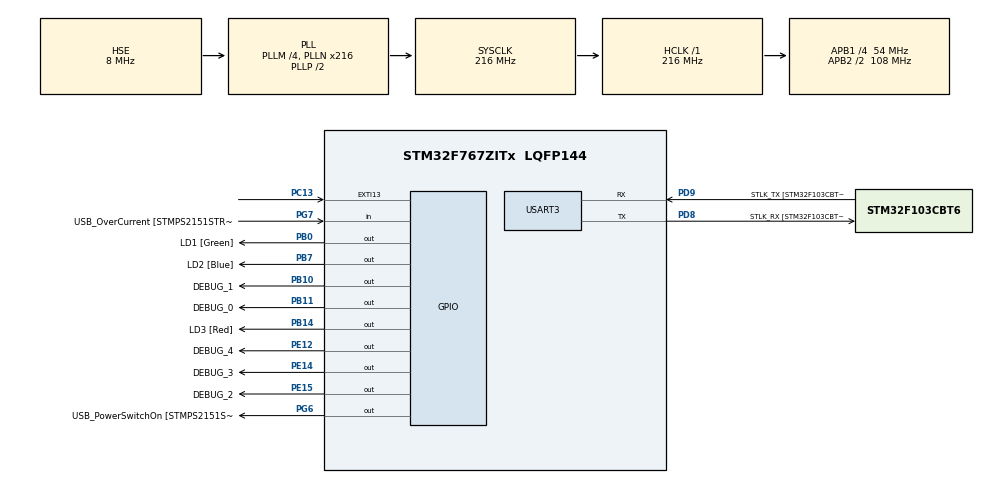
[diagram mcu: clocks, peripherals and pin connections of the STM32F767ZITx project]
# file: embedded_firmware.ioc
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CORTEX_M7.CPU_DCache=Enabled
CORTEX_M7.CPU_ICache=Enabled
CORTEX_M7.PREFETCH_ENABLE=1
Mcu.Family=STM32F7
Mcu.Name=STM32F767ZITx
Mcu.Package=LQFP144
NVIC.EXTI15_10_IRQn=true\:0\:0\:false\:false\:true\:true\:true
NVIC.PriorityGroup=NVIC_PRIORITYGROUP_4
PA13.GPIO_Label=TMS
PA13.Mode=Trace_Asynchronous_SW
PA13.Signal=SYS_JTMS-SWDIO
PA14.GPIO_Label=TCK
PA14.Mode=Trace_Asynchronous_SW
PA14.Signal=SYS_JTCK-SWCLK
PB0.GPIO_Label=LD1 [Green]
PB0.Signal=GPIO_Output
PB10.GPIO_Label=DEBUG_1
PB10.GPIO_ModeDefaultOutputPP=GPIO_MODE_OUTPUT_PP
PB10.GPIO_PuPd=GPIO_NOPULL
PB10.GPIO_Speed=GPIO_SPEED_FREQ_VERY_HIGH
PB10.PinState=GPIO_PIN_RESET
PB10.Signal=GPIO_Output
PB11.GPIO_Label=DEBUG_0
PB11.GPIO_ModeDefaultOutputPP=GPIO_MODE_OUTPUT_PP
PB11.GPIO_PuPd=GPIO_NOPULL
PB11.GPIO_Speed=GPIO_SPEED_FREQ_VERY_HIGH
PB11.PinState=GPIO_PIN_RESET
PB11.Signal=GPIO_Output
PB14.GPIO_Label=LD3 [Red]
PB14.Signal=GPIO_Output
PB3.GPIO_Label=SW0
PB3.Mode=Trace_Asynchronous_SW
PB3.Signal=SYS_JTDO-SWO
PB7.GPIO_Label=LD2 [Blue]
PB7.Signal=GPIO_Output
PC13.Signal=GPXTI13
PC14/OSC32_IN.Signal=RCC_OSC32_IN
PC15/OSC32_OUT.Signal=RCC_OSC32_OUT
PD8.GPIO_Label=STLK_RX [STM32F103CBT6_PA3]
PD8.Mode=Asynchronous
PD8.Signal=USART3_TX
PD9.GPIO_Label=STLK_TX [STM32F103CBT6_PA2]
PD9.Mode=Asynchronous
PD9.Signal=USART3_RX
PE12.GPIO_Label=DEBUG_4
PE12.GPIO_ModeDefaultOutputPP=GPIO_MODE_OUTPUT_PP
PE12.GPIO_PuPd=GPIO_NOPULL
PE12.GPIO_Speed=GPIO_SPEED_FREQ_VERY_HIGH
PE12.PinState=GPIO_PIN_RESET
PE12.Signal=GPIO_Output
PE14.GPIO_Label=DEBUG_3
PE14.GPIO_ModeDefaultOutputPP=GPIO_MODE_OUTPUT_PP
PE14.GPIO_PuPd=GPIO_NOPULL
PE14.GPIO_Speed=GPIO_SPEED_FREQ_VERY_HIGH
PE14.PinState=GPIO_PIN_RESET
PE14.Signal=GPIO_Output
PE15.GPIO_Label=DEBUG_2
PE15.GPIO_ModeDefaultOutputPP=GPIO_MODE_OUTPUT_PP
PE15.GPIO_PuPd=GPIO_NOPULL
PE15.GPIO_Speed=GPIO_SPEED_FREQ_VERY_HIGH
PE15.PinState=GPIO_PIN_RESET
PE15.Signal=GPIO_Output
PG6.GPIO_Label=USB_PowerSwitchOn [STMPS2151STR_EN]
PG6.Signal=GPIO_Output
PG7.GPIO_Label=USB_OverCurrent [STMPS2151STR_FAULT]
PG7.Signal=GPIO_Input
PH0/OSC_IN.GPIO_Label=MCO [STM32F103CBT6_PA8]
PH0/OSC_IN.Mode=HSE-External-Clock-Source
PH0/OSC_IN.Signal=RCC_OSC_IN
PH1/OSC_OUT.Mode=HSE-External-Clock-Source
PH1/OSC_OUT.Signal=RCC_OSC_OUT
ProjectManager.HeapSize=0x4000
ProjectManager.StackSize=0x800
ProjectManager.TargetToolchain=SW4STM32
RCC.48MHZClocksFreq_Value=24000000
RCC.AHBFreq_Value=216000000
RCC.APB1CLKDivider=RCC_HCLK_DIV4
RCC.APB1Freq_Value=54000000
RCC.APB1TimFreq_Value=108000000
RCC.APB2CLKDivider=RCC_HCLK_DIV2
RCC.APB2Freq_Value=108000000
RCC.APB2TimFreq_Value=216000000
RCC.CortexFreq_Value=216000000
RCC.HCLKFreq_Value=216000000
RCC.HSE_VALUE=8000000
RCC.HSI_VALUE=16000000
RCC.LSE_VALUE=32768
RCC.PLLM=4
RCC.PLLMUL=RCC_PLL_MUL9
RCC.PLLN=216
RCC.PLLSourceVirtual=RCC_PLLSOURCE_HSE
RCC.PRESCALERUSB=RCC_USBCLKSOURCE_PLL_DIV1_5
RCC.SYSCLKFreq_VALUE=216000000
RCC.SYSCLKSource=RCC_SYSCLKSOURCE_PLLCLK
RCC.SYSCLKSourceVirtual=RCC_SYSCLKSOURCE_PLLCLK
RCC.USBFreq_Value=216000000
RCC.VCOOutputFreq_Value=432000000
STMicroelectronics.X-CUBE-AI.5.0.0.ActivationBufferSizeList=384,1536,3072
STMicroelectronics.X-CUBE-AI.5.0.0.ApplicationCcArtificialOoIntelligenceJjApplication=ApplicationTemplate
STMicroelectronics.X-CUBE-AI.5.0.0.HeapSize=0x4000
STMicroelectronics.X-CUBE-AI.5.0.0.InternalRamActivationBufferMaxSize=AI_NN3_DATA_ACTIVATIONS_SIZE
STMicroelectronics.X-CUBE-AI.5.0.0.LatestDirectoryUsed-02650812e826a3e265c95c50bc66d74a5a2cc0cbbdc711387e93a7be50956d26=/home/balder/PycharmProjects/embedded_ml/model/results
STMicroelectronics.X-CUBE-AI.5.0.0.LatestDirectoryUsed-77f1e9dd5304a7d1dafb6d57cafcdcb12858ae9fdfbacf5e9c5140ac5e242079=/home/balder/PycharmProjects/embedded_ml/model/results
STMicroelectronics.X-CUBE-AI.5.0.0.LatestDirectoryUsed-b40f42d832e5bfbd14f119497318b09404eadec0bfece2512309a528f3a46638=/home/balder/PycharmProjects/embedded_ml/model/results
STMicroelectronics.X-CUBE-AI.5.0.0.MaximumNumberOfInputLayer=1
STMicroelectronics.X-CUBE-AI.5.0.0.MaximumNumberOfOutputLayer=1
STMicroelectronics.X-CUBE-AI.5.0.0.MaximumSizeOfInputLayer=32
STMicroelectronics.X-CUBE-AI.5.0.0.MaximumSizeOfOutputLayer=16
STMicroelectronics.X-CUBE-AI.5.0.0.ModelActualCompression-02650812e826a3e265c95c50bc66d74a5a2cc0cbbdc711387e93a7be50956d26=0.0
STMicroelectronics.X-CUBE-AI.5.0.0.ModelActualCompression-77f1e9dd5304a7d1dafb6d57cafcdcb12858ae9fdfbacf5e9c5140ac5e242079=0.0
STMicroelectronics.X-CUBE-AI.5.0.0.ModelActualCompression-b40f42d832e5bfbd14f119497318b09404eadec0bfece2512309a528f3a46638=0.0
STMicroelectronics.X-CUBE-AI.5.0.0.ModelCompression-02650812e826a3e265c95c50bc66d74a5a2cc0cbbdc711387e93a7be50956d26=1
STMicroelectronics.X-CUBE-AI.5.0.0.ModelCompression-77f1e9dd5304a7d1dafb6d57cafcdcb12858ae9fdfbacf5e9c5140ac5e242079=1
STMicroelectronics.X-CUBE-AI.5.0.0.ModelCompression-b40f42d832e5bfbd14f119497318b09404eadec0bfece2512309a528f3a46638=1
STMicroelectronics.X-CUBE-AI.5.0.0.ModelFlashOccupation-02650812e826a3e265c95c50bc66d74a5a2cc0cbbdc711387e93a7be50956d26=15440
STMicroelectronics.X-CUBE-AI.5.0.0.ModelFlashOccupation-77f1e9dd5304a7d1dafb6d57cafcdcb12858ae9fdfbacf5e9c5140ac5e242079=709456
STMicroelectronics.X-CUBE-AI.5.0.0.ModelFlashOccupation-b40f42d832e5bfbd14f119497318b09404eadec0bfece2512309a528f3a46638=174928
STMicroelectronics.X-CUBE-AI.5.0.0.ModelHashList=02650812e826a3e265c95c50bc66d74a5a2cc0cbbdc711387e93a7be50956d26;b40f42d832e5bfbd14f119497318b09404eadec0bfece2512309a528f3a46638;77f1e9dd5304a7d1dafb6d57cafcdcb12858ae9fdfbacf5e9c5140ac5e242079
STMicroelectronics.X-CUBE-AI.5.0.0.ModelKind-02650812e826a3e265c95c50bc66d74a5a2cc0cbbdc711387e93a7be50956d26=KERAS
STMicroelectronics.X-CUBE-AI.5.0.0.ModelKind-77f1e9dd5304a7d1dafb6d57cafcdcb12858ae9fdfbacf5e9c5140ac5e242079=KERAS
STMicroelectronics.X-CUBE-AI.5.0.0.ModelKind-b40f42d832e5bfbd14f119497318b09404eadec0bfece2512309a528f3a46638=KERAS
STMicroelectronics.X-CUBE-AI.5.0.0.ModelMacc-02650812e826a3e265c95c50bc66d74a5a2cc0cbbdc711387e93a7be50956d26=3856
STMicroelectronics.X-CUBE-AI.5.0.0.ModelMacc-77f1e9dd5304a7d1dafb6d57cafcdcb12858ae9fdfbacf5e9c5140ac5e242079=177360
STMicroelectronics.X-CUBE-AI.5.0.0.ModelMacc-b40f42d832e5bfbd14f119497318b09404eadec0bfece2512309a528f3a46638=43728
STMicroelectronics.X-CUBE-AI.5.0.0.ModelName-02650812e826a3e265c95c50bc66d74a5a2cc0cbbdc711387e93a7be50956d26=nn1
STMicroelectronics.X-CUBE-AI.5.0.0.ModelName-77f1e9dd5304a7d1dafb6d57cafcdcb12858ae9fdfbacf5e9c5140ac5e242079=nn3
STMicroelectronics.X-CUBE-AI.5.0.0.ModelName-b40f42d832e5bfbd14f119497318b09404eadec0bfece2512309a528f3a46638=nn2
STMicroelectronics.X-CUBE-AI.5.0.0.ModelNameList=nn1,nn2,nn3
STMicroelectronics.X-CUBE-AI.5.0.0.ModelRamOccupation-02650812e826a3e265c95c50bc66d74a5a2cc0cbbdc711387e93a7be50956d26=384
STMicroelectronics.X-CUBE-AI.5.0.0.ModelRamOccupation-77f1e9dd5304a7d1dafb6d57cafcdcb12858ae9fdfbacf5e9c5140ac5e242079=3072
STMicroelectronics.X-CUBE-AI.5.0.0.ModelRamOccupation-b40f42d832e5bfbd14f119497318b09404eadec0bfece2512309a528f3a46638=1536
STMicroelectronics.X-CUBE-AI.5.0.0.ModelStructureFile-02650812e826a3e265c95c50bc66d74a5a2cc0cbbdc711387e93a7be50956d26=/home/balder/CLionProjects/master_embedded_ml/model/results/relu_64_areg_mare_GN0.1_lr0.001.h5
STMicroelectronics.X-CUBE-AI.5.0.0.ModelStructureFile-77f1e9dd5304a7d1dafb6d57cafcdcb12858ae9fdfbacf5e9c5140ac5e242079=/home/balder/CLionProjects/master_embedded_ml/model/results/relu_512_areg_mare_GN0.1_lr0.001.h5
STMicroelectronics.X-CUBE-AI.5.0.0.ModelStructureFile-b40f42d832e5bfbd14f119497318b09404eadec0bfece2512309a528f3a46638=/home/balder/CLionProjects/master_embedded_ml/model/results/relu_256_areg_mare_GN0.1_lr0.001.h5
STMicroelectronics.X-CUBE-AI.5.0.0.ModelType-02650812e826a3e265c95c50bc66d74a5a2cc0cbbdc711387e93a7be50956d26=Saved model
STMicroelectronics.X-CUBE-AI.5.0.0.ModelType-77f1e9dd5304a7d1dafb6d57cafcdcb12858ae9fdfbacf5e9c5140ac5e242079=Saved model
STMicroelectronics.X-CUBE-AI.5.0.0.ModelType-b40f42d832e5bfbd14f119497318b09404eadec0bfece2512309a528f3a46638=Saved model
STMicroelectronics.X-CUBE-AI.5.0.0.NNModelInformation_AchievedCompression-02650812e826a3e265c95c50bc66d74a5a2cc0cbbdc711387e93a7be50956d26=0.0
STMicroelectronics.X-CUBE-AI.5.0.0.NNModelInformation_AchievedCompression-77f1e9dd5304a7d1dafb6d57cafcdcb12858ae9fdfbacf5e9c5140ac5e242079=0.0
STMicroelectronics.X-CUBE-AI.5.0.0.NNModelInformation_AchievedCompression-b40f42d832e5bfbd14f119497318b09404eadec0bfece2512309a528f3a46638=0.0
STMicroelectronics.X-CUBE-AI.5.0.0.NNModelInformation_CompressionFactor-02650812e826a3e265c95c50bc66d74a5a2cc0cbbdc711387e93a7be50956d26=0.0
STMicroelectronics.X-CUBE-AI.5.0.0.NNModelInformation_CompressionFactor-77f1e9dd5304a7d1dafb6d57cafcdcb12858ae9fdfbacf5e9c5140ac5e242079=0.0
STMicroelectronics.X-CUBE-AI.5.0.0.NNModelInformation_CompressionFactor-b40f42d832e5bfbd14f119497318b09404eadec0bfece2512309a528f3a46638=0.0
STMicroelectronics.X-CUBE-AI.5.0.0.NNModelInformation_EvaluationStatus-02650812e826a3e265c95c50bc66d74a5a2cc0cbbdc711387e93a7be50956d26=NOT EVALUATED
STMicroelectronics.X-CUBE-AI.5.0.0.NNModelInformation_EvaluationStatus-77f1e9dd5304a7d1dafb6d57cafcdcb12858ae9fdfbacf5e9c5140ac5e242079=NOT EVALUATED
STMicroelectronics.X-CUBE-AI.5.0.0.NNModelInformation_EvaluationStatus-b40f42d832e5bfbd14f119497318b09404eadec0bfece2512309a528f3a46638=NOT EVALUATED
STMicroelectronics.X-CUBE-AI.5.0.0.NNModelInformation_HeapSizeNeeded-02650812e826a3e265c95c50bc66d74a5a2cc0cbbdc711387e93a7be50956d26=2048
STMicroelectronics.X-CUBE-AI.5.0.0.NNModelInformation_HeapSizeNeeded-77f1e9dd5304a7d1dafb6d57cafcdcb12858ae9fdfbacf5e9c5140ac5e242079=2048
STMicroelectronics.X-CUBE-AI.5.0.0.NNModelInformation_HeapSizeNeeded-b40f42d832e5bfbd14f119497318b09404eadec0bfece2512309a528f3a46638=2048
STMicroelectronics.X-CUBE-AI.5.0.0.NNModelInformation_ModelInSizeByName-02650812e826a3e265c95c50bc66d74a5a2cc0cbbdc711387e93a7be50956d26={input_0\=32}
STMicroelectronics.X-CUBE-AI.5.0.0.NNModelInformation_ModelInSizeByName-77f1e9dd5304a7d1dafb6d57cafcdcb12858ae9fdfbacf5e9c5140ac5e242079={input_0\=32}
STMicroelectronics.X-CUBE-AI.5.0.0.NNModelInformation_ModelInSizeByName-b40f42d832e5bfbd14f119497318b09404eadec0bfece2512309a528f3a46638={input_0\=32}
STMicroelectronics.X-CUBE-AI.5.0.0.NNModelInformation_ModelMacc-02650812e826a3e265c95c50bc66d74a5a2cc0cbbdc711387e93a7be50956d26=3856
STMicroelectronics.X-CUBE-AI.5.0.0.NNModelInformation_ModelMacc-77f1e9dd5304a7d1dafb6d57cafcdcb12858ae9fdfbacf5e9c5140ac5e242079=177360
STMicroelectronics.X-CUBE-AI.5.0.0.NNModelInformation_ModelMacc-b40f42d832e5bfbd14f119497318b09404eadec0bfece2512309a528f3a46638=43728
STMicroelectronics.X-CUBE-AI.5.0.0.NNModelInformation_ModelName-02650812e826a3e265c95c50bc66d74a5a2cc0cbbdc711387e93a7be50956d26=nn1
STMicroelectronics.X-CUBE-AI.5.0.0.NNModelInformation_ModelName-77f1e9dd5304a7d1dafb6d57cafcdcb12858ae9fdfbacf5e9c5140ac5e242079=nn3
STMicroelectronics.X-CUBE-AI.5.0.0.NNModelInformation_ModelName-b40f42d832e5bfbd14f119497318b09404eadec0bfece2512309a528f3a46638=nn2
STMicroelectronics.X-CUBE-AI.5.0.0.NNModelInformation_ModelOutSizeByName-02650812e826a3e265c95c50bc66d74a5a2cc0cbbdc711387e93a7be50956d26={Output_layer\=16}
STMicroelectronics.X-CUBE-AI.5.0.0.NNModelInformation_ModelOutSizeByName-77f1e9dd5304a7d1dafb6d57cafcdcb12858ae9fdfbacf5e9c5140ac5e242079={Output_layer\=16}
STMicroelectronics.X-CUBE-AI.5.0.0.NNModelInformation_ModelOutSizeByName-b40f42d832e5bfbd14f119497318b09404eadec0bfece2512309a528f3a46638={Output_layer\=16}
STMicroelectronics.X-CUBE-AI.5.0.0.NNModelInformation_ModelRam-02650812e826a3e265c95c50bc66d74a5a2cc0cbbdc711387e93a7be50956d26=384
STMicroelectronics.X-CUBE-AI.5.0.0.NNModelInformation_ModelRam-77f1e9dd5304a7d1dafb6d57cafcdcb12858ae9fdfbacf5e9c5140ac5e242079=3072
STMicroelectronics.X-CUBE-AI.5.0.0.NNModelInformation_ModelRam-b40f42d832e5bfbd14f119497318b09404eadec0bfece2512309a528f3a46638=1536
STMicroelectronics.X-CUBE-AI.5.0.0.NNModelInformation_ModelRom-02650812e826a3e265c95c50bc66d74a5a2cc0cbbdc711387e93a7be50956d26=15440
STMicroelectronics.X-CUBE-AI.5.0.0.NNModelInformation_ModelRom-77f1e9dd5304a7d1dafb6d57cafcdcb12858ae9fdfbacf5e9c5140ac5e242079=709456
STMicroelectronics.X-CUBE-AI.5.0.0.NNModelInformation_ModelRom-b40f42d832e5bfbd14f119497318b09404eadec0bfece2512309a528f3a46638=174928
STMicroelectronics.X-CUBE-AI.5.0.0.NNModelInformation_ModelSize-02650812e826a3e265c95c50bc66d74a5a2cc0cbbdc711387e93a7be50956d26=15440
STMicroelectronics.X-CUBE-AI.5.0.0.NNModelInformation_ModelSize-77f1e9dd5304a7d1dafb6d57cafcdcb12858ae9fdfbacf5e9c5140ac5e242079=709456
STMicroelectronics.X-CUBE-AI.5.0.0.NNModelInformation_ModelSize-b40f42d832e5bfbd14f119497318b09404eadec0bfece2512309a528f3a46638=174928
STMicroelectronics.X-CUBE-AI.5.0.0.NNModelInformation_NbOfParameters-02650812e826a3e265c95c50bc66d74a5a2cc0cbbdc711387e93a7be50956d26=3860
STMicroelectronics.X-CUBE-AI.5.0.0.NNModelInformation_NbOfParameters-77f1e9dd5304a7d1dafb6d57cafcdcb12858ae9fdfbacf5e9c5140ac5e242079=177364
STMicroelectronics.X-CUBE-AI.5.0.0.NNModelInformation_NbOfParameters-b40f42d832e5bfbd14f119497318b09404eadec0bfece2512309a528f3a46638=43732
STMicroelectronics.X-CUBE-AI.5.0.0.StackSize=0x800
STMicroelectronics.X-CUBE-AI.5.0.0.WorkingBufferStartAddrList=0xFFFFFFFF,0xFFFFFFFF,0xFFFFFFFF
STMicroelectronics.X-CUBE-AI.5.0.0.XAaCUBEAaAICcArtificialOoIntelligenceJjCore=true
USART3.VirtualMode-Asynchronous=VM_ASYNC
VP_CRC_VS_CRC.Mode=CRC_Activate
VP_STMicroelectronics.X-CUBE-AI_VS_ArtificialOoIntelligenceJjApplication_5.0.0.Mode=ArtificialOoIntelligenceJjApplication
VP_STMicroelectronics.X-CUBE-AI_VS_ArtificialOoIntelligenceJjXAaCUBEAaAI_5.0.0.Mode=ArtificialOoIntelligenceJjXAaCUBEAaAI
board=NUCLEO-F767ZI

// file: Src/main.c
/* USER CODE BEGIN Header */
/**
 ******************************************************************************
 * @file           : main.c
 * @brief          : Main program body
 ******************************************************************************
 * @attention
 *
 * <h2><center>&copy; Copyright (c) 2020 STMicroelectronics.
 * All rights reserved.</center></h2>
 *
 * This software component is licensed by ST under BSD 3-Clause license,
 * the "License"; You may not use this file except in compliance with the
 * License. You may obtain a copy of the License at:
 *                        opensource.org/licenses/BSD-3-Clause
 *
 ******************************************************************************
 */
/* USER CODE END Header */

#include "main.h"
#include "app_x-cube-ai.h"

/* USER CODE BEGIN Includes */
#include <stdarg.h>
#include "sensor_data.h"
#include <math.h>
#include <stdio.h>
#include <stdlib.h>
#include <string.h>
/* USER CODE END Includes */

CRC_HandleTypeDef hcrc;

UART_HandleTypeDef huart3;

void SystemClock_Config(void);

static void MX_GPIO_Init(void);

static void MX_USART3_UART_Init(void);

static void MX_CRC_Init(void);

/* USER CODE BEGIN PFP */
uint8_t str_buff[512];
uint8_t _str_buff[512];

float mae(float *data1, float *data2, uint16_t _len) {
    float ret_val = 0;
    float orig_len = (float) _len;
    if (_len == 0) {
        return 0;
    }
    for (; _len > 0; _len--) {
        ret_val += fabsf(data1[_len - 1] - data2[_len - 1]);
    }
    return ret_val / orig_len;
}

float mse(float *data1, float *data2, uint16_t _len) {
    float ret_val = 0;
    float orig_len = (float) _len;
    if (_len == 0) {
        return 0;
    }
    for (; _len > 0; _len--) {
        ret_val += powf(data1[_len - 1] - data2[_len - 1], 2);
    }
    return ret_val / orig_len;
}

static inline void handle_ai_err(ai_error err) {
    if (err.type != AI_ERROR_NONE) {
        int len = snprintf((char *) str_buff, sizeof(str_buff), "ERROR: code: %#X type; %#X", err.code, err.type);
        if (len > 0 && len < sizeof(str_buff)) {
            HAL_UART_Transmit(&huart3, str_buff, len, 100);
        } else {
            __NOP();
        }

        while (1) {
            __NOP();
        }
    }
}

void custom_print(const char *format, ...) {
    va_list arg;
    va_start(arg, format);
    int len = vsnprintf((char *) _str_buff, sizeof(_str_buff), format, arg);
    //va_end(arg);
    va_end(arg);
    __DMB();
    if (len > 0 && len < sizeof(_str_buff)) {
        HAL_UART_Transmit(&huart3, _str_buff, len, 100);
    } else {
        __NOP();
    }
}
/* USER CODE END PFP */

int main(void) {

    /* Enable I-Cache---------------------------------------------------------*/
    SCB_EnableICache();

    /* Enable D-Cache---------------------------------------------------------*/
    SCB_EnableDCache();

    /* MCU Configuration--------------------------------------------------------*/

    /* Reset of all peripherals, Initializes the Flash interface and the Systick. */
    HAL_Init();

    /* Configure the system clock */
    SystemClock_Config();

    /* Initialize all configured peripherals */
    MX_GPIO_Init();
    MX_USART3_UART_Init();
    MX_CRC_Init();
    MX_X_CUBE_AI_Init();

    /* Infinite loop */
    /* USER CODE BEGIN WHILE */
    ai_error err;
    /// allocate the data types
    /// NN1
    AI_ALIGNED(4)
    static ai_u8 nn1_activations[AI_NN1_DATA_ACTIVATIONS_SIZE];
    static ai_handle nn1_handle = AI_HANDLE_NULL;
    const ai_network_params nn1_params = {
            AI_NN1_DATA_WEIGHTS(ai_nn1_data_weights_get()),
            AI_NN1_DATA_ACTIVATIONS(nn1_activations)};

    /// NN2
    AI_ALIGNED(4)
    static ai_u8 nn2_activations[AI_NN2_DATA_ACTIVATIONS_SIZE];
    static ai_handle nn2_handle = AI_HANDLE_NULL;
    const ai_network_params nn2_params = {
            AI_NN2_DATA_WEIGHTS(ai_nn2_data_weights_get()),
            AI_NN2_DATA_ACTIVATIONS(nn2_activations)};

    /// NN3
    AI_ALIGNED(4)
    static ai_u8 nn3_activations[AI_NN3_DATA_ACTIVATIONS_SIZE];
    static ai_handle nn3_handle = AI_HANDLE_NULL;
    const ai_network_params nn3_params = {
            AI_NN3_DATA_WEIGHTS(ai_nn3_data_weights_get()),
            AI_NN3_DATA_ACTIVATIONS(nn3_activations)};

    /// Create the networks
    err = ai_nn1_create(&nn1_handle, AI_NN1_DATA_CONFIG);
    handle_ai_err(err);

    err = ai_nn2_create(&nn2_handle, AI_NN2_DATA_CONFIG);
    handle_ai_err(err);

    err = ai_nn3_create(&nn3_handle, AI_NN3_DATA_CONFIG);
    handle_ai_err(err);

    /// Initialize the networks
    if (!ai_nn1_init(nn1_handle, &nn1_params)) {
        err = ai_nn1_get_error(nn1_handle);
        ai_nn1_destroy(nn1_handle);
        nn1_handle = AI_HANDLE_NULL;
        handle_ai_err(err);
    }

    if (!ai_nn2_init(nn2_handle, &nn2_params)) {
        err = ai_nn2_get_error(nn2_handle);
        ai_nn2_destroy(nn2_handle);
        nn2_handle = AI_HANDLE_NULL;
        handle_ai_err(err);
    }

    if (!ai_nn3_init(nn3_handle, &nn3_params)) {
        err = ai_nn3_get_error(nn3_handle);
        ai_nn3_destroy(nn3_handle);
        nn3_handle = AI_HANDLE_NULL;
        handle_ai_err(err);
    }

    /// Preparing the data in an out
    AI_ALIGNED(4)
    float target_data[AI_NN1_OUT_1_SIZE];

    AI_ALIGNED(4)
    static ai_i8 in_data[AI_NN1_IN_1_SIZE_BYTES];

    AI_ALIGNED(4)
    static ai_i8 out_data_nn1[AI_NN1_OUT_1_SIZE_BYTES];
    AI_ALIGNED(4)
    static ai_i8 out_data_nn2[AI_NN2_OUT_1_SIZE_BYTES];
    AI_ALIGNED(4)
    static ai_i8 out_data_nn3[AI_NN3_OUT_1_SIZE_BYTES];

    static float *output_data_nn1 = (float *) out_data_nn1;
    static float *output_data_nn2 = (float *) out_data_nn2;
    static float *output_data_nn3 = (float *) out_data_nn3;

    static float *input_data = (float *) in_data;

    ai_buffer inputs[] = AI_NN1_IN;
    ai_buffer outputs_nn1[] = AI_NN1_OUT;
    ai_buffer outputs_nn2[] = AI_NN2_OUT;
    ai_buffer outputs_nn3[] = AI_NN3_OUT;

    ai_buffer *input = &inputs[0];
    ai_buffer *output_nn1 = &outputs_nn1[0];
    ai_buffer *output_nn2 = &outputs_nn2[0];
    ai_buffer *output_nn3 = &outputs_nn3[0];

    input->data = input_data;
    output_nn1->data = output_data_nn1;
    output_nn2->data = output_data_nn2;
    output_nn3->data = output_data_nn3;

    sensor_data_source_t type = SENSOR_DATA_TRAIN;
    int n_batch;

    const char *feature_description[AI_NN1_IN_1_SIZE];
    const char *target_description[AI_NN1_OUT_1_SIZE];
    get_target_description(target_description);
    get_feature_description(feature_description);
    while (1) {
        SET_USER_LED(1);
        SET_DEBUG_PIN(0);
        switch (type) {
            case SENSOR_DATA_TRAIN:
                type = SENSOR_DATA_TEST;
                custom_print((char *) "%s:", "TEST");
                break;
            case SENSOR_DATA_TEST:
                type = SENSOR_DATA_TRAIN;
                custom_print((char *) "%s:", "TRAIN");
                break;
            default:
                while (1) {
                    __NOP();
                }
        }
        new_sensor_reading(type);
        get_sensor_reading(input_data);
        get_sensor_values(target_data);
        RESET_DEBUG_PIN(0);
        SET_DEBUG_PIN(1);
        n_batch = ai_nn1_run(nn1_handle, input, output_nn1);
        RESET_DEBUG_PIN(1);
        if (n_batch != 1) {
            err = ai_nn1_get_error(nn1_handle);
            handle_ai_err(err);
        }
        SET_DEBUG_PIN(2);
        n_batch = ai_nn2_run(nn2_handle, input, output_nn2);
        RESET_DEBUG_PIN(2);
        if (n_batch != 1) {
            err = ai_nn2_get_error(nn2_handle);
            handle_ai_err(err);
        }
        SET_DEBUG_PIN(3);
        n_batch = ai_nn3_run(nn3_handle, input, output_nn3);
        RESET_DEBUG_PIN(3);
        if (n_batch != 1) {
            err = ai_nn3_get_error(nn3_handle);
            handle_ai_err(err);
        }
        SET_USER_LED(2);
        custom_print("\n%14s:\t", "label");
        for (int i = 0; i < AI_NN1_IN_1_SIZE; i++) {
            char format_str[6];
            if (i == 0 || i >= 6) {
                strcpy(format_str, "%6s ");
            } else {
                strcpy(format_str, "%9s ");
            }
            custom_print(format_str, feature_description[i]);
        }
        custom_print("\n%14s:\t", "input data");
        for (int i = 0; i < AI_NN1_IN_1_SIZE; i++) {
            char format_str[6];
            if (i == 0 || i >= 6) {
                strcpy(format_str, "%3d.%.2d ");
            } else {
                strcpy(format_str, "%6d.%.2d ");
            }
            custom_print(format_str, (int) input_data[i],
                         abs(((int) (input_data[i] * 100)) - ((int) input_data[i]) * 100));
        }
        custom_print("\n%14s:\t", "label");
        for (int i = 0; i < AI_NN1_OUT_1_SIZE; i++) {
            custom_print("%9s ", target_description[i]);
        }
        custom_print("\n%14s:\t", "target");
        for (int i = 0; i < AI_NN1_OUT_1_SIZE; i++) {
            custom_print("%6d.%.2d ", (int) target_data[i],
                         abs(((int) (target_data[i] * 100)) - ((int) target_data[i]) * 100));
        }
        custom_print("\n%14s:\t", "output NN1");
        for (int i = 0; i < AI_NN1_OUT_1_SIZE; i++) {
            custom_print("%6d.%.2d ", (int) output_data_nn1[i],
                         abs(((int) (output_data_nn1[i] * 100)) - ((int) output_data_nn1[i]) * 100));
        }
        custom_print("\n%14s:\t", "output NN2");
        for (int i = 0; i < AI_NN2_OUT_1_SIZE; i++) {
            custom_print("%6d.%.2d ", (int) output_data_nn2[i],
                         abs(((int) (output_data_nn2[i] * 100)) - ((int) output_data_nn2[i]) * 100));
        }
        custom_print("\n%14s:\t", "output NN3");
        for (int i = 0; i < AI_NN3_OUT_1_SIZE; i++) {
            custom_print("%6d.%.2d ", (int) output_data_nn3[i],
                         abs(((int) (output_data_nn3[i] * 100)) - ((int) output_data_nn3[i]) * 100));
        }
        custom_print("\n");
        SET_USER_LED(3);
        float mae_nn1 = mae(target_data, output_data_nn1, AI_NN1_OUT_1_SIZE);
        float mae_nn2 = mae(target_data, output_data_nn2, AI_NN2_OUT_1_SIZE);
        float mae_nn3 = mae(target_data, output_data_nn3, AI_NN3_OUT_1_SIZE);

        custom_print("%14s: %6d.%.2d \n", "mae NN1",
                     (int) mae_nn1, (abs(((int) (mae_nn1 * 100)) - ((int) mae_nn1) * 100)));

        custom_print("%14s: %6d.%.2d \n", "mae NN2",
                     (int) mae_nn2, (abs(((int) (mae_nn2 * 100)) - ((int) mae_nn2) * 100)));

        custom_print("%14s: %6d.%.2d \n", "mae NN3",
                     (int) mae_nn3, (abs(((int) (mae_nn3 * 100)) - ((int) mae_nn3) * 100)));

        float mse_nn1 = mse(target_data, output_data_nn1, AI_NN1_OUT_1_SIZE);
        float mse_nn2 = mse(target_data, output_data_nn2, AI_NN2_OUT_1_SIZE);
        float mse_nn3 = mse(target_data, output_data_nn3, AI_NN3_OUT_1_SIZE);

        custom_print("%14s: %6d.%.2d \n", "mse NN1",
                     (int) mse_nn1, (abs(((int) (mse_nn1 * 100)) - ((int) mse_nn1) * 100)));

        custom_print("%14s: %6d.%.2d \n", "mse NN2",
                     (int) mse_nn2, (abs(((int) (mse_nn2 * 100)) - ((int) mse_nn2) * 100)));

        custom_print("%14s: %6d.%.2d \n", "mse NN3",
                     (int) mse_nn3, (abs(((int) (mse_nn3 * 100)) - ((int) mse_nn3) * 100)));

        custom_print("\n");

        RESET_USER_LED(3);
        RESET_USER_LED(2);
        RESET_USER_LED(1);

        /* USER CODE END WHILE */

    }
}

void SystemClock_Config(void) {
    RCC_OscInitTypeDef RCC_OscInitStruct = {0};
    RCC_ClkInitTypeDef RCC_ClkInitStruct = {0};
    RCC_PeriphCLKInitTypeDef PeriphClkInitStruct = {0};

    /** Configure the main internal regulator output voltage
    */
    __HAL_RCC_PWR_CLK_ENABLE();
    __HAL_PWR_VOLTAGESCALING_CONFIG(PWR_REGULATOR_VOLTAGE_SCALE1);
    /** Initializes the CPU, AHB and APB busses clocks
    */
    RCC_OscInitStruct.OscillatorType = RCC_OSCILLATORTYPE_HSE;
    RCC_OscInitStruct.HSEState = RCC_HSE_BYPASS;
    RCC_OscInitStruct.PLL.PLLState = RCC_PLL_ON;
    RCC_OscInitStruct.PLL.PLLSource = RCC_PLLSOURCE_HSE;
    RCC_OscInitStruct.PLL.PLLM = 4;
    RCC_OscInitStruct.PLL.PLLN = 216;
    RCC_OscInitStruct.PLL.PLLP = RCC_PLLP_DIV2;
    RCC_OscInitStruct.PLL.PLLQ = 2;
    if (HAL_RCC_OscConfig(&RCC_OscInitStruct) != HAL_OK) {
        Error_Handler();
    }
    /** Activate the Over-Drive mode
    */
    if (HAL_PWREx_EnableOverDrive() != HAL_OK) {
        Error_Handler();
    }
    /** Initializes the CPU, AHB and APB busses clocks
    */
    RCC_ClkInitStruct.ClockType = RCC_CLOCKTYPE_HCLK | RCC_CLOCKTYPE_SYSCLK
                                  | RCC_CLOCKTYPE_PCLK1 | RCC_CLOCKTYPE_PCLK2;
    RCC_ClkInitStruct.SYSCLKSource = RCC_SYSCLKSOURCE_PLLCLK;
    RCC_ClkInitStruct.AHBCLKDivider = RCC_SYSCLK_DIV1;
    RCC_ClkInitStruct.APB1CLKDivider = RCC_HCLK_DIV4;
    RCC_ClkInitStruct.APB2CLKDivider = RCC_HCLK_DIV2;

    if (HAL_RCC_ClockConfig(&RCC_ClkInitStruct, FLASH_LATENCY_7) != HAL_OK) {
        Error_Handler();
    }
    PeriphClkInitStruct.PeriphClockSelection = RCC_PERIPHCLK_USART3;
    PeriphClkInitStruct.Usart3ClockSelection = RCC_USART3CLKSOURCE_PCLK1;
    if (HAL_RCCEx_PeriphCLKConfig(&PeriphClkInitStruct) != HAL_OK) {
        Error_Handler();
    }
}

static void MX_CRC_Init(void) {

    hcrc.Instance = CRC;
    hcrc.Init.DefaultPolynomialUse = DEFAULT_POLYNOMIAL_ENABLE;
    hcrc.Init.DefaultInitValueUse = DEFAULT_INIT_VALUE_ENABLE;
    hcrc.Init.InputDataInversionMode = CRC_INPUTDATA_INVERSION_NONE;
    hcrc.Init.OutputDataInversionMode = CRC_OUTPUTDATA_INVERSION_DISABLE;
    hcrc.InputDataFormat = CRC_INPUTDATA_FORMAT_BYTES;
    if (HAL_CRC_Init(&hcrc) != HAL_OK) {
        Error_Handler();
    }

}

static void MX_USART3_UART_Init(void) {

    huart3.Instance = USART3;
    huart3.Init.BaudRate = 115200;
    huart3.Init.WordLength = UART_WORDLENGTH_8B;
    huart3.Init.StopBits = UART_STOPBITS_1;
    huart3.Init.Parity = UART_PARITY_NONE;
    huart3.Init.Mode = UART_MODE_TX_RX;
    huart3.Init.HwFlowCtl = UART_HWCONTROL_NONE;
    huart3.Init.OverSampling = UART_OVERSAMPLING_16;
    huart3.Init.OneBitSampling = UART_ONE_BIT_SAMPLE_DISABLE;
    huart3.AdvancedInit.AdvFeatureInit = UART_ADVFEATURE_NO_INIT;
    if (HAL_UART_Init(&huart3) != HAL_OK) {
        Error_Handler();
    }

}

static void MX_GPIO_Init(void) {
    GPIO_InitTypeDef GPIO_InitStruct = {0};

    /* GPIO Ports Clock Enable */
    __HAL_RCC_GPIOC_CLK_ENABLE();
    __HAL_RCC_GPIOH_CLK_ENABLE();
    __HAL_RCC_GPIOB_CLK_ENABLE();
    __HAL_RCC_GPIOE_CLK_ENABLE();
    __HAL_RCC_GPIOD_CLK_ENABLE();
    __HAL_RCC_GPIOG_CLK_ENABLE();
    __HAL_RCC_GPIOA_CLK_ENABLE();

    /*Configure GPIO pin Output Level */
    HAL_GPIO_WritePin(GPIOB, LD1_Pin | DEBUG_1_Pin | DEBUG_0_Pin | LD3_Pin
                             | LD2_Pin, GPIO_PIN_RESET);

    /*Configure GPIO pin Output Level */
    HAL_GPIO_WritePin(GPIOE, DEBUG_4_Pin | DEBUG_3_Pin | DEBUG_2_Pin, GPIO_PIN_RESET);

    /*Configure GPIO pin Output Level */
    HAL_GPIO_WritePin(USB_PowerSwitchOn_GPIO_Port, USB_PowerSwitchOn_Pin, GPIO_PIN_RESET);

    /*Configure GPIO pin : PC13 */
    GPIO_InitStruct.Pin = GPIO_PIN_13;
    GPIO_InitStruct.Mode = GPIO_MODE_IT_RISING;
    GPIO_InitStruct.Pull = GPIO_NOPULL;
    HAL_GPIO_Init(GPIOC, &GPIO_InitStruct);

    /*Configure GPIO pins : LD1_Pin LD3_Pin LD2_Pin */
    GPIO_InitStruct.Pin = LD1_Pin | LD3_Pin | LD2_Pin;
    GPIO_InitStruct.Mode = GPIO_MODE_OUTPUT_PP;
    GPIO_InitStruct.Pull = GPIO_NOPULL;
    GPIO_InitStruct.Speed = GPIO_SPEED_FREQ_LOW;
    HAL_GPIO_Init(GPIOB, &GPIO_InitStruct);

    /*Configure GPIO pins : DEBUG_4_Pin DEBUG_3_Pin DEBUG_2_Pin */
    GPIO_InitStruct.Pin = DEBUG_4_Pin | DEBUG_3_Pin | DEBUG_2_Pin;
    GPIO_InitStruct.Mode = GPIO_MODE_OUTPUT_PP;
    GPIO_InitStruct.Pull = GPIO_NOPULL;
    GPIO_InitStruct.Speed = GPIO_SPEED_FREQ_VERY_HIGH;
    HAL_GPIO_Init(GPIOE, &GPIO_InitStruct);

    /*Configure GPIO pins : DEBUG_1_Pin DEBUG_0_Pin */
    GPIO_InitStruct.Pin = DEBUG_1_Pin | DEBUG_0_Pin;
    GPIO_InitStruct.Mode = GPIO_MODE_OUTPUT_PP;
    GPIO_InitStruct.Pull = GPIO_NOPULL;
    GPIO_InitStruct.Speed = GPIO_SPEED_FREQ_VERY_HIGH;
    HAL_GPIO_Init(GPIOB, &GPIO_InitStruct);

    /*Configure GPIO pin : USB_PowerSwitchOn_Pin */
    GPIO_InitStruct.Pin = USB_PowerSwitchOn_Pin;
    GPIO_InitStruct.Mode = GPIO_MODE_OUTPUT_PP;
    GPIO_InitStruct.Pull = GPIO_NOPULL;
    GPIO_InitStruct.Speed = GPIO_SPEED_FREQ_LOW;
    HAL_GPIO_Init(USB_PowerSwitchOn_GPIO_Port, &GPIO_InitStruct);

    /*Configure GPIO pin : USB_OverCurrent_Pin */
    GPIO_InitStruct.Pin = USB_OverCurrent_Pin;
    GPIO_InitStruct.Mode = GPIO_MODE_INPUT;
    GPIO_InitStruct.Pull = GPIO_NOPULL;
    HAL_GPIO_Init(USB_OverCurrent_GPIO_Port, &GPIO_InitStruct);

    /* EXTI interrupt init*/
    HAL_NVIC_SetPriority(EXTI15_10_IRQn, 0, 0);
    HAL_NVIC_EnableIRQ(EXTI15_10_IRQn);

}

void Error_Handler(void) {
}

#ifdef  USE_FULL_ASSERT
/**
  * @brief  Reports the name of the source file and the source line number
  *         where the assert_param error has occurred.
  * @param  file: pointer to the source file name
  * @param  line: assert_param error line source number
  * @retval None
  */
void assert_failed(uint8_t *file, uint32_t line)
{
  /* USER CODE BEGIN 6 */
  /* User can add his own implementation to report the file name and line
     number,
     tex: printf("Wrong parameters value: file %s on line %d\r\n", file, line)
   */
  /* USER CODE END 6 */
}
#endif /* USE_FULL_ASSERT */

/************************ (C) COPYRIGHT STMicroelectronics *****END OF FILE****/
